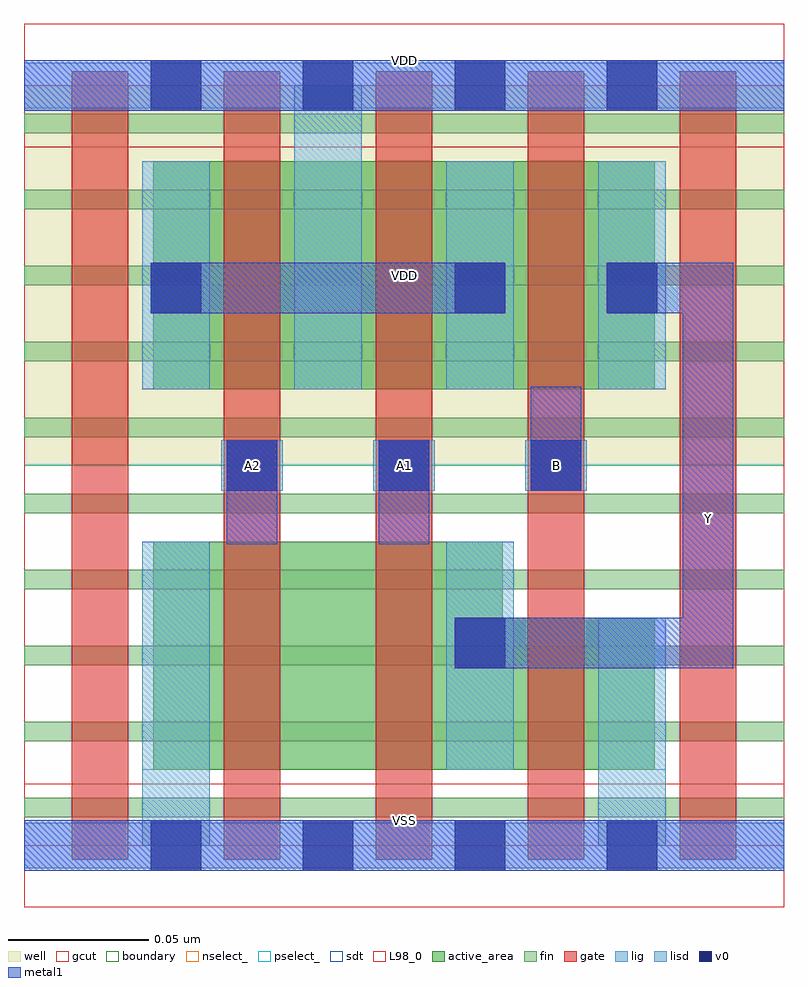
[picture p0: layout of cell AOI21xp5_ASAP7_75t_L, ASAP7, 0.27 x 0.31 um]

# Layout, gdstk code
import gdstk
lib = gdstk.Library(unit=1e-6, precision=2.5e-10)
def R(c, l, rs):  # rectangles x0, y0, x1, y1
    for r in rs: c.add(gdstk.rectangle(r[:2], r[2:], *l))
def A(c, l, x, y, w, h, nx, ny, dx, dy):  # array of equal rectangles
    R(c, l, [(x+i*dx, y+j*dy, x+i*dx+w, y+j*dy+h) for i in range(nx) for j in range(ny)])
def P(c, l, *ps):  # polygons
    for p in ps: c.add(gdstk.Polygon(p, *l))
well = (1, 0)
fin = (2, 0)
gate = (7, 0)
gcut = (10, 0)
active_area = (11, 0)
nselect_ = (12, 0)
pselect_ = (13, 0)
lig = (16, 0)
lisd = (17, 0)
v0 = (18, 0)
metal1 = (19, 0)
sdt = (88, 0)
L98_0 = (98, 0)
boundary = (100, 0)

aoi21xp5_asap7_75t_l = lib.new_cell('AOI21xp5_ASAP7_75t_L')
R(aoi21xp5_asap7_75t_l, well, [(0,0.135,0.27,0.27)])
A(aoi21xp5_asap7_75t_l, fin, 0, 0.01, 0.27, 0.007, 1, 10, 0, 0.027)
A(aoi21xp5_asap7_75t_l, gate, 0.017, -0.005, 0.02, 0.28, 5, 1, 0.054, 0)
R(aoi21xp5_asap7_75t_l, gcut, [(0,-0.022,0.27,0.022), (0,0.248,0.27,0.292)])
R(aoi21xp5_asap7_75t_l, active_area, [(0.046,0.162,0.224,0.243)])
P(aoi21xp5_asap7_75t_l, active_area, [(0.224,0.081),(0.17,0.081),(0.17,0.108),(0.046,0.108),(0.046,0.027),(0.224,0.027)])
R(aoi21xp5_asap7_75t_l, nselect_, [(0,0,0.27,0.135)])
R(aoi21xp5_asap7_75t_l, pselect_, [(0,0.135,0.27,0.27)])
A(aoi21xp5_asap7_75t_l, lig, 0.07, 0.126, 0.022, 0.018, 3, 1, 0.054, 0)
R(aoi21xp5_asap7_75t_l, lig, [(0,-0.008,0.27,0.008), (0,0.262,0.27,0.278)])
R(aoi21xp5_asap7_75t_l, lisd, [(0.042,0,0.066,0.108), (0.042,0,0.066,0.108), (0.204,0,0.228,0.081), (0.204,0,0.228,0.081), (0.15,0.027,0.174,0.108), (0.042,0.162,0.066,0.243), (0.096,0.162,0.12,0.27), (0.096,0.162,0.12,0.27), (0.15,0.162,0.174,0.243), (0.204,0.162,0.228,0.243)])
A(aoi21xp5_asap7_75t_l, v0, 0.045, -0.009, 0.018, 0.018, 4, 2, 0.054, 0.27)
A(aoi21xp5_asap7_75t_l, v0, 0.072, 0.126, 0.018, 0.018, 3, 1, 0.054, 0)
R(aoi21xp5_asap7_75t_l, v0, [(0.153,0.063,0.171,0.081), (0.045,0.189,0.063,0.207), (0.153,0.189,0.171,0.207), (0.207,0.189,0.225,0.207)])
A(aoi21xp5_asap7_75t_l, metal1, 0.072, 0.126, 0.018, 0.018, 3, 1, 0.054, 0)
R(aoi21xp5_asap7_75t_l, metal1, [(0,-0.009,0.27,0.009), (0.153,0.063,0.171,0.081), (0.072,0.107,0.09,0.144), (0.126,0.107,0.144,0.144), (0.18,0.126,0.198,0.163), (0.045,0.189,0.063,0.207), (0.045,0.189,0.171,0.207), (0.153,0.189,0.171,0.207), (0.207,0.189,0.225,0.207), (0,0.261,0.27,0.279)])
P(aoi21xp5_asap7_75t_l, metal1, [(0.207,0.207),(0.207,0.189),(0.234,0.189),(0.234,0.081),(0.153,0.081),(0.153,0.063),(0.252,0.063),(0.252,0.207)])
A(aoi21xp5_asap7_75t_l, sdt, 0.096, 0.162, 0.024, 0.081, 3, 1, 0.054, 0)
R(aoi21xp5_asap7_75t_l, sdt, [(0.042,0.027,0.066,0.108), (0.042,0.027,0.066,0.108), (0.15,0.027,0.174,0.108), (0.204,0.027,0.228,0.081), (0.204,0.027,0.228,0.081), (0.042,0.162,0.066,0.243), (0.096,0.162,0.12,0.243)])
R(aoi21xp5_asap7_75t_l, L98_0, [(0,0,0.27,0.27)])
R(aoi21xp5_asap7_75t_l, boundary, [(0,0,0.27,0.27)])
aoi21xp5_asap7_75t_l.add(gdstk.Label('VDD', (0.135,0.2025), layer=1, texttype=251))
aoi21xp5_asap7_75t_l.add(gdstk.Label('VSS', (0.135,-0.0675), layer=3, texttype=251))
aoi21xp5_asap7_75t_l.add(gdstk.Label('VSS', (0.135,0.009), layer=19, texttype=251))
aoi21xp5_asap7_75t_l.add(gdstk.Label('VDD', (0.135,0.279), layer=19, texttype=251))
aoi21xp5_asap7_75t_l.add(gdstk.Label('A2', (0.081,0.135), layer=19, texttype=251))
aoi21xp5_asap7_75t_l.add(gdstk.Label('A1', (0.135,0.135), layer=19, texttype=251))
aoi21xp5_asap7_75t_l.add(gdstk.Label('Y', (0.243,0.116), layer=19, texttype=251))
aoi21xp5_asap7_75t_l.add(gdstk.Label('B', (0.189,0.135), layer=19, texttype=251))

lib.write_gds('AOI21xp5_ASAP7_75t_L.gds')
